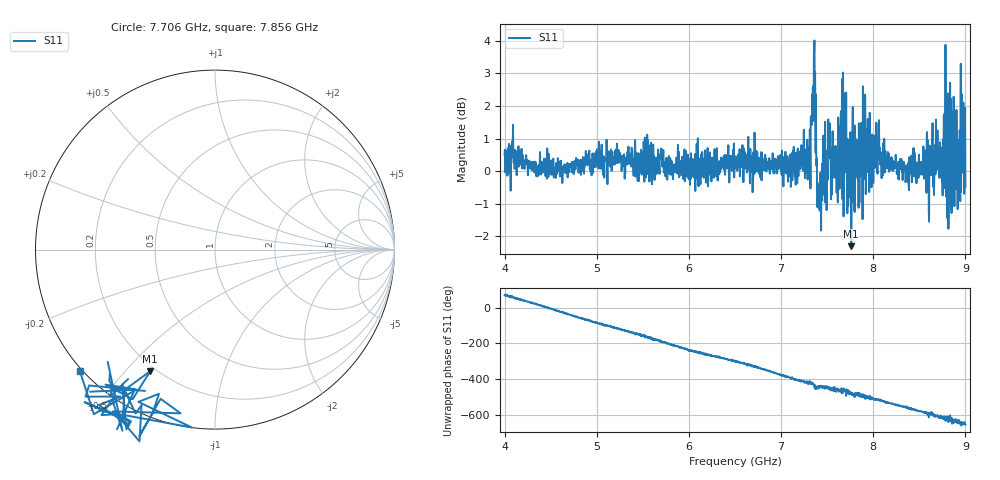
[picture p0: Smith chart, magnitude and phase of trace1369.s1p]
! Created with skrf 1.8.0 (http://scikit-rf.org).
# Hz S RI R 50.0
!freq ReS11 ImS11
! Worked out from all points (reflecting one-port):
!   1601 points, 4 GHz to 9 GHz, reference 50 ohm
!   lowest |S11| = -2.3 dB at 7.762 GHz (marker M1), VSWR 7.60, Z = 8.89 - j29.3 ohm
!   phase of S11 starts at 71 deg and turns -726 deg over the sweep
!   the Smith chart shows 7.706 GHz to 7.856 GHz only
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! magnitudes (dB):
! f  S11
! 4 GHz  0.5
! 4.625 GHz  -0.4
! 5.25 GHz  0.4
! 5.566 GHz  0.4
! 5.619 GHz  0.5
! 5.875 GHz  -0.1
! 6.5 GHz  0.1
! 7.125 GHz  0.3
! 7.294 GHz  -0.1
! 7.347 GHz  2.6
! 7.362 GHz  4.0
! 7.397 GHz  -0.6
! 7.416 GHz  -1.1
! 7.462 GHz  0.3
! 7.538 GHz  0.7
! 7.591 GHz  0.8
! 7.669 GHz  1.2
! 7.75 GHz  -0.4
! 7.762 GHz  -2.3
! 7.891 GHz  0.7
! 7.981 GHz  -0.5
! 8.05 GHz  0.8
! 8.375 GHz  -0.1
! 8.728 GHz  0.1
! 8.788 GHz  -0.1
! 8.875 GHz  0.3
! 8.972 GHz  0.5
! 9 GHz  -0.5
